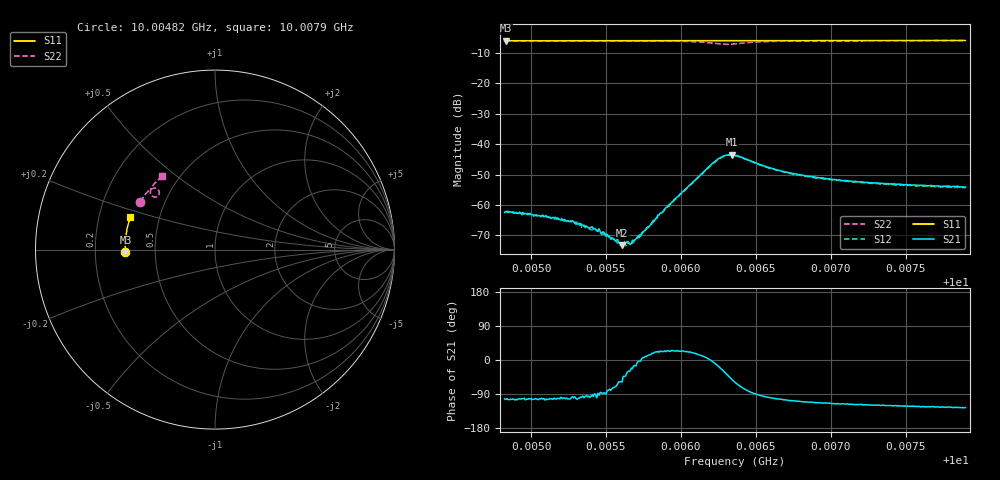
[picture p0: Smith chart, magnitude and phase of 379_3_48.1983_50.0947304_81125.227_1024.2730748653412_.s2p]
#  HZ  S  RI  R  50.00
! Rohde & Schwarz Vector Network Analyzer
! Rohde-Schwarz,ZNB20-2Port,1311601062101988,3.16
! Created: UTC 3/20/2024, 11:53:02 AM
! freq[Hz]  re:S11  im:S11  re:S21  im:S21  re:S12  im:S12  re:S22  im:S22
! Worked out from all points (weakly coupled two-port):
!   401 points, 10.00482 GHz to 10.0079 GHz, reference 50 ohm
!   highest |S21| = -43.43 dB at 10.00634 GHz (marker M1); lowest = -73.2 dB at 10.00561 GHz (marker M2)
!   lowest |S11| = -6.0 dB at 10.00483 GHz (marker M3), VSWR 2.99, Z = 16.7 - j0.586 ohm
!   |S11| at or under -10 dB: nowhere
!   |S22| runs from -7.2 to -6.0 dB; largest |S21 - S12| = 0.0004
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1.0004824e10  -0.4991 -0.0137  -0.000163 -0.000737  -0.000143 -0.000743  -0.4154 0.2671
1.0004832e10  -0.499 -0.0132  -0.000192 -0.000756  -0.000139 -0.000756  -0.4152 0.2676
1.0005162e10  -0.4998 0.00828  -0.000134 -0.000613  -0.000111 -0.000586  -0.4032 0.2872
1.0005262e10  -0.4999 0.0149  -0.000119 -0.000524  -0.000106 -0.000534  -0.3992 0.293
1.0005339e10  -0.5 0.0199  -6.47e-05 -0.000456  -4.11e-05 -0.000428  -0.396 0.2977
1.0005439e10  -0.4997 0.0262  -6.49e-05 -0.00037  -2.39e-05 -0.000388  -0.3917 0.3038
1.0005469e10  -0.4997 0.0283  2.2e-05 -0.000342  4.37e-05 -0.000329  -0.3902 0.3055
1.0005546e10  -0.4996 0.0332  8.21e-05 -0.000272  0.000101 -0.000265  -0.3865 0.3104
1.0005592e10  -0.4996 0.0363  0.000123 -0.0002  0.000114 -0.000189  -0.3842 0.313
1.0005608e10  -0.4994 0.0372  0.000117 -0.000186  0.000124 -0.000171  -0.3835 0.3139
1.0005661e10  -0.4992 0.0407  0.000201 -0.000111  0.000209 -8.42e-05  -0.3806 0.3174
1.0005692e10  -0.4992 0.0428  0.000259 -6.72e-05  0.000259 -4.25e-05  -0.3789 0.3192
1.0005738e10  -0.4989 0.0455  0.000347 1.8e-05  0.000335 2.26e-05  -0.376 0.3222
1.0005853e10  -0.4984 0.0531  0.000645 0.000241  0.000639 0.000261  -0.368 0.3295
1.0006215e10  -0.4958 0.0764  0.00491 -0.000435  0.00481 -0.000186  -0.3149 0.3313
1.0006276e10  -0.4952 0.0802  0.00563 -0.00277  0.00559 -0.00247  -0.3107 0.3105
1.0006338e10  -0.4946 0.0837  0.00427 -0.00521  0.00445 -0.00488  -0.3261 0.2936
1.0006361e10  -0.4945 0.0851  0.0034 -0.00564  0.00361 -0.00537  -0.3344 0.2922
1.0006645e10  -0.4921 0.1034  -0.000836 -0.00367  -0.000626 -0.00365  -0.3581 0.3341
1.0006875e10  -0.4894 0.1181  -0.00108 -0.00272  -0.000942 -0.00268  -0.3477 0.3542
1.000739e10  -0.4815 0.1503  -0.00112 -0.0019  -0.00102 -0.00193  -0.322 0.384
1.0007897e10  -0.4718 0.1814  -0.00115 -0.00162  -0.00105 -0.00161  -0.2961 0.4073
